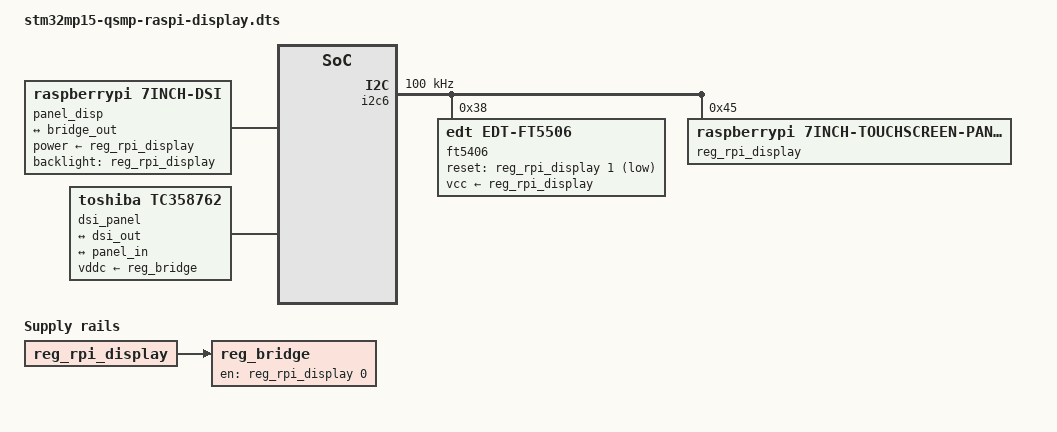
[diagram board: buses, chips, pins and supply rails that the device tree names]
// SPDX-License-Identifier: (GPL-2.0-only OR BSD-3-Clause)
/*
 * Copyright (C) 2020 Markus Bauer <mb@karo-electronics.de>
 * Copyright (C) 2024 Lothar Waßmann <LW@karo-electronics.de>
 * Copyright (C) 2025 Marcel Mertens <MM@karo-electronics.de>
 */

/dts-v1/;

/plugin/;

&{/} {
	panel_disp: panel_disp@1 {
		reg = <1>;
		compatible = "raspberrypi,7inch-dsi", "simple-panel";
		default-on;
		backlight = <&reg_rpi_display>;
		power-supply = <&reg_rpi_display>;

		port {
			panel_in: endpoint {
				remote-endpoint = <&bridge_out>;
			};
		};
	};

	reg_bridge: reg_bridge@1 {
		reg = <1>;
		compatible = "regulator-fixed";
		regulator-name = "bridge_reg";
		gpio = <&reg_rpi_display 0 0>;
		vin-supply = <&reg_rpi_display>;
		enable-active-high;
	};
};

&{/chosen} {
	overlays {
		qsmp-raspi-display;
	};
};

&dsi_panel {
	compatible = "toshiba,tc358762";
	default-on;
	vddc-supply = <&reg_bridge>;

	ports {
		#address-cells = <1>;
		#size-cells = <0>;

		port@0 {
			reg = <0>;
			bridge_in: endpoint {
				remote-endpoint = <&dsi_out>;
			};
		};

		port@1 {
			reg = <1>;
			bridge_out: endpoint {
				remote-endpoint = <&panel_in>;
			};
		};
	};
};

&dsi_in {
	remote-endpoint = <&ltdc_ep0_out>;
};

&dsi_out {
	remote-endpoint = <&bridge_in>;
};

&i2c6 {
	clock-frequency = <100000>;
	status = "okay";

	ft5406: ts@38 {
		compatible = "edt,edt-ft5506";
		reg = <0x38>;
		vcc-supply = <&reg_rpi_display>;
		reset-gpio = <&reg_rpi_display 1 1>;

		touchscreen-size-x = < 800 >;
		touchscreen-size-y = < 480 >;
		touchscreen-inverted-x;
		touchscreen-inverted-y;
	};

	reg_rpi_display: regulator-rpi-display@45 {
		compatible = "raspberrypi,7inch-touchscreen-panel-regulator";
		reg = <0x45>;
		gpio-controller;
		#gpio-cells = <2>;
	};
};
